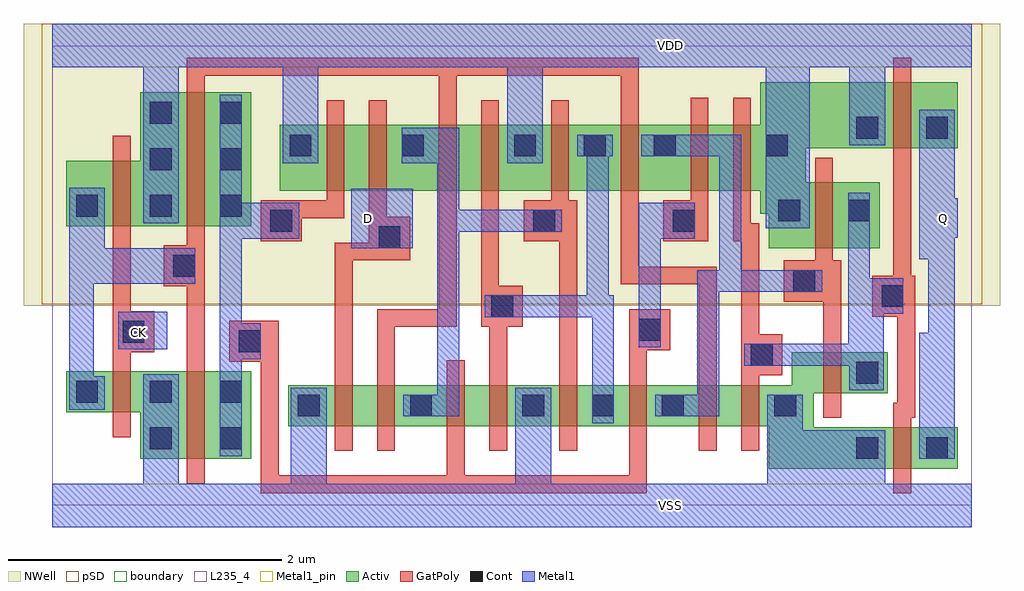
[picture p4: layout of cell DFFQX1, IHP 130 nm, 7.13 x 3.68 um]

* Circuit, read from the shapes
.subckt DFFQX1 CK D Q VDD VSS
XM1 VSS CK n1 VSUBS sg13_lv_nmos w=0.3u l=0.13u
XM2 n2 n1 VSS VSUBS sg13_lv_nmos w=0.64u l=0.13u
XM3 n3 D VSS VSUBS sg13_lv_nmos w=0.3u l=0.13u
XM4 n4 n1 n3 VSUBS sg13_lv_nmos w=0.3u l=0.13u
XM5 n5 n2 n4 VSUBS sg13_lv_nmos w=0.3u l=0.13u
XM6 VSS n6 n5 VSUBS sg13_lv_nmos w=0.3u l=0.13u
XM7 n6 n4 VSS VSUBS sg13_lv_nmos w=0.3u l=0.13u
XM8 n7 n2 n6 VSUBS sg13_lv_nmos w=0.3u l=0.13u
XM9 n8 n1 n7 VSUBS sg13_lv_nmos w=0.3u l=0.13u
XM10 VSS n9 n8 VSUBS sg13_lv_nmos w=0.3u l=0.13u
XM11 n9 n7 VSS VSUBS sg13_lv_nmos w=0.3u l=0.13u
XM12 Q n9 VSS VSUBS sg13_lv_nmos w=0.3u l=0.13u
XM13 VDD CK n1 n10 sg13_lv_pmos w=0.48u l=0.13u
XM14 n2 n1 VDD n10 sg13_lv_pmos w=0.98u l=0.13u
XM15 n11 n2 VDD n10 sg13_lv_pmos w=0.48u l=0.13u
XM16 n4 D n11 n10 sg13_lv_pmos w=0.48u l=0.13u
XM17 n12 n1 n4 n10 sg13_lv_pmos w=0.48u l=0.13u
XM18 VDD n6 n12 n10 sg13_lv_pmos w=0.48u l=0.13u
XM19 n6 n4 VDD n10 sg13_lv_pmos w=0.48u l=0.13u
XM20 n7 n1 n6 n10 sg13_lv_pmos w=0.48u l=0.13u
XM21 n13 n2 n7 n10 sg13_lv_pmos w=0.48u l=0.13u
XM22 VDD n9 n13 n10 sg13_lv_pmos w=0.48u l=0.13u
XM23 n9 n7 VDD n10 sg13_lv_pmos w=0.48u l=0.13u
XM24 Q n9 VDD n10 sg13_lv_pmos w=0.48u l=0.13u
.ends

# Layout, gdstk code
import gdstk
lib = gdstk.Library(unit=1e-6, precision=1e-09)
def R(c, l, rs):  # rectangles x0, y0, x1, y1
    for r in rs: c.add(gdstk.rectangle(r[:2], r[2:], *l))
def A(c, l, x, y, w, h, nx, ny, dx, dy):  # array of equal rectangles
    R(c, l, [(x+i*dx, y+j*dy, x+i*dx+w, y+j*dy+h) for i in range(nx) for j in range(ny)])
def P(c, l, *ps):  # polygons
    for p in ps: c.add(gdstk.Polygon(p, *l))
Activ = (1, 0)
GatPoly = (5, 0)
Cont = (6, 0)
Metal1 = (8, 0)
Metal1_pin = (8, 2)
pSD = (14, 0)
NWell = (31, 0)
boundary = (189, 4)
L235_4 = (235, 4)

dffqx1 = lib.new_cell('DFFQX1')
P(dffqx1, Activ, [(5.235,0.27),(5.235,0.58),(1.725,0.58),(1.725,0.88),(5.405,0.88),(5.405,1.12),(6.105,1.12),(6.105,0.82),(5.565,0.82),(5.565,0.57),(6.615,0.57),(6.615,0.27)],
  [(5.235,1.88),(5.235,2.13),(5.175,2.13),(5.175,2.3),(1.665,2.3),(1.665,2.78),(5.175,2.78),(5.175,3.09),(6.615,3.09),(6.615,2.61),(5.505,2.61),(5.505,2.36),(6.045,2.36),(6.045,1.88)],
  [(0.645,0.34),(0.645,0.68),(0.105,0.68),(0.105,0.98),(1.455,0.98),(1.455,0.34)],
  [(0.105,2.04),(0.105,2.52),(0.645,2.52),(0.645,3.02),(1.455,3.02),(1.455,2.04)])
P(dffqx1, GatPoly, [(2.065,0.4),(2.065,1.92),(2.315,1.92),(2.315,2.96),(2.445,2.96),(2.445,2.11),(2.615,2.11),(2.615,1.79),(2.195,1.79),(2.195,0.4)],
  [(0.445,0.5),(0.445,2.7),(0.575,2.7),(0.575,1.42),(0.745,1.42),(0.745,1.12),(0.575,1.12),(0.575,0.5)],
  [(6.145,0.09),(6.145,0.75),(6.175,0.75),(6.175,1.38),(5.99,1.38),(5.99,1.68),(6.145,1.68),(6.145,3.27),(6.275,3.27),(6.275,1.68),(6.305,1.68),(6.305,0.64),(6.275,0.64),(6.275,0.09)],
  [(5.635,0.64),(5.635,1.49),(5.345,1.49),(5.345,1.79),(5.575,1.79),(5.575,2.54),(5.705,2.54),(5.705,1.79),(5.765,1.79),(5.765,0.64)],
  [(5.035,0.4),(5.035,1.93),(4.975,1.93),(4.975,2.98),(5.105,2.98),(5.105,2.06),(5.165,2.06),(5.165,1.25),(5.335,1.25),(5.335,0.95),(5.165,0.95),(5.165,0.4)],
  [(0.985,0.16),(0.985,1.6),(0.815,1.6),(0.815,1.9),(0.985,1.9),(0.985,3.27),(4.285,3.27),(4.285,1.745),(4.855,1.745),(4.855,0.4),(4.725,0.4),(4.725,1.615),(4.155,1.615),(4.155,3.14),(2.955,3.14),(2.955,1.305),(2.505,1.305),(2.505,0.4),(2.375,0.4),(2.375,1.435),(2.825,1.435),(2.825,3.14),(1.115,3.14),(1.115,0.16)],
  [(4.465,1.93),(4.465,2.23),(4.665,2.23),(4.665,2.98),(4.795,2.98),(4.795,1.93)],
  [(1.525,0.09),(1.525,1.05),(1.295,1.05),(1.295,1.35),(1.655,1.35),(1.655,0.22),(2.885,0.22),(2.885,1.06),(3.015,1.06),(3.015,0.22),(4.215,0.22),(4.215,1.435),(4.515,1.435),(4.515,1.135),(4.345,1.135),(4.345,0.09)],
  [(3.705,0.4),(3.705,1.93),(3.445,1.93),(3.445,2.23),(3.645,2.23),(3.645,2.96),(3.775,2.96),(3.775,2.23),(3.835,2.23),(3.835,0.4)],
  [(3.195,0.4),(3.195,1.305),(3.135,1.305),(3.135,2.96),(3.265,2.96),(3.265,1.605),(3.44,1.605),(3.44,1.305),(3.325,1.305),(3.325,0.4)],
  [(1.525,1.93),(1.525,2.23),(2.005,2.23),(2.005,2.96),(2.135,2.96),(2.135,2.1),(1.825,2.1),(1.825,1.93)])
A(dffqx1, Cont, 1.795, 0.65, 0.16, 0.16, 3, 1, 0.82, 0)
A(dffqx1, Cont, 0.715, 2.11, 0.16, 0.16, 1, 3, 0, 0.34)
A(dffqx1, Cont, 1.225, 2.11, 0.16, 0.16, 1, 3, 0, 0.34)
A(dffqx1, Cont, 1.735, 2.55, 0.16, 0.16, 3, 1, 0.82, 0)
R(dffqx1, Cont, [(5.875,0.34,6.035,0.5), (6.385,0.34,6.545,0.5), (0.715,0.41,0.875,0.57), (1.225,0.41,1.385,0.57), (3.945,0.65,4.105,0.81), (4.455,0.65,4.615,0.81), (5.275,0.65,5.435,0.81), (0.175,0.75,0.335,0.91), (0.715,0.75,0.875,0.91), (1.225,0.75,1.385,0.91), (5.875,0.89,6.035,1.05), (5.105,1.02,5.265,1.18), (1.365,1.12,1.525,1.28), (0.515,1.19,0.675,1.35), (4.285,1.205,4.445,1.365), (3.21,1.375,3.37,1.535), (6.06,1.45,6.22,1.61), (5.415,1.56,5.575,1.72), (0.885,1.67,1.045,1.83), (2.385,1.88,2.545,2.04), (1.595,2,1.755,2.16), (3.515,2,3.675,2.16), (4.535,2,4.695,2.16), (5.305,2.075,5.465,2.235), (5.815,2.075,5.975,2.235), (0.175,2.11,0.335,2.27), (3.885,2.55,4.045,2.71), (4.395,2.55,4.555,2.71), (5.215,2.55,5.375,2.71), (5.875,2.68,6.035,2.84), (6.385,2.68,6.545,2.84)])
R(dffqx1, Metal1, [(0.485,1.14,0.84,1.415), (2.185,1.88,2.635,2.315)])
P(dffqx1, Metal1, [(0,-0.16),(0,0.16),(0.665,0.16),(0.665,0.96),(0.925,0.96),(0.925,0.16),(1.745,0.16),(1.745,0.86),(2.005,0.86),(2.005,0.16),(3.385,0.16),(3.385,0.86),(3.645,0.86),(3.645,0.16),(5.225,0.16),(5.225,0.81),(5.485,0.81),(5.485,0.55),(6.085,0.55),(6.085,0.16),(6.72,0.16),(6.72,-0.16)],
  [(5.215,2.025),(5.215,3.2),(3.585,3.2),(3.585,2.5),(3.325,2.5),(3.325,3.2),(1.945,3.2),(1.945,2.5),(1.685,2.5),(1.685,3.2),(0.925,3.2),(0.925,2.06),(0.665,2.06),(0.665,3.2),(0,3.2),(0,3.52),(6.72,3.52),(6.72,3.2),(6.085,3.2),(6.085,2.63),(5.825,2.63),(5.825,3.2),(5.535,3.2),(5.535,2.025)],
  [(6.335,0.34),(6.335,1.26),(6.4,1.26),(6.4,1.8),(6.335,1.8),(6.335,2.89),(6.595,2.89),(6.595,2.245),(6.615,2.245),(6.615,1.955),(6.595,1.955),(6.595,0.34)],
  [(5.825,0.84),(5.825,1.02),(5.055,1.02),(5.055,1.18),(5.815,1.18),(5.815,2.285),(5.975,2.285),(5.975,1.66),(6.22,1.66),(6.22,1.4),(6.075,1.4),(6.075,0.84)],
  [(4.405,0.65),(4.405,0.81),(4.715,0.81),(4.715,1.72),(4.875,1.72),(4.875,2.55),(4.305,2.55),(4.305,2.71),(5.035,2.71),(5.035,1.72),(5.625,1.72),(5.625,1.56),(4.875,1.56),(4.875,0.65)],
  [(4.285,1.155),(4.285,2.21),(4.695,2.21),(4.695,1.95),(4.445,1.95),(4.445,1.155)],
  [(3.945,0.6),(3.945,1.375),(3.16,1.375),(3.16,1.535),(3.905,1.535),(3.905,2.55),(3.835,2.55),(3.835,2.71),(4.095,2.71),(4.095,2.55),(4.065,2.55),(4.065,1.535),(4.105,1.535),(4.105,0.6)],
  [(2.565,0.65),(2.565,0.81),(2.815,0.81),(2.815,2.5),(2.555,2.5),(2.555,2.76),(2.975,2.76),(2.975,2.16),(3.725,2.16),(3.725,2),(2.975,2),(2.975,0.65)],
  [(1.225,0.36),(1.225,3),(1.385,3),(1.385,2.21),(1.805,2.21),(1.805,1.95),(1.385,1.95),(1.385,1.33),(1.525,1.33),(1.525,1.07),(1.385,1.07),(1.385,0.36)],
  [(0.125,0.7),(0.125,2.32),(0.385,2.32),(0.385,1.88),(1.045,1.88),(1.045,1.62),(0.305,1.62),(0.305,0.945),(0.385,0.945),(0.385,0.7)])
R(dffqx1, Metal1_pin, [(0,-0.16,6.72,0.16), (0.485,1.14,0.84,1.415), (2.185,1.88,2.635,2.315), (0,3.2,6.72,3.52)])
P(dffqx1, Metal1_pin, [(6.335,0.34),(6.335,1.26),(6.4,1.26),(6.4,1.8),(6.335,1.8),(6.335,2.89),(6.595,2.89),(6.595,2.245),(6.615,2.245),(6.615,1.955),(6.595,1.955),(6.595,0.34)])
R(dffqx1, pSD, [(-0.075,1.47,6.795,3.52)])
R(dffqx1, NWell, [(-0.205,1.46,6.925,3.52)])
R(dffqx1, boundary, [(0,0,6.72,3.36)])
R(dffqx1, L235_4, [(0,0,6.72,3.36)])
dffqx1.add(gdstk.Label('VSS', (4.52,0), layer=8, texttype=25))
dffqx1.add(gdstk.Label('VDD', (4.52,3.36), layer=8, texttype=25))
dffqx1.add(gdstk.Label('CK', (0.63,1.26), layer=8, texttype=25))
dffqx1.add(gdstk.Label('Q', (6.51,2.1), layer=8, texttype=25))
dffqx1.add(gdstk.Label('D', (2.31,2.1), layer=8, texttype=25))

lib.write_gds('DFFQX1.gds')
